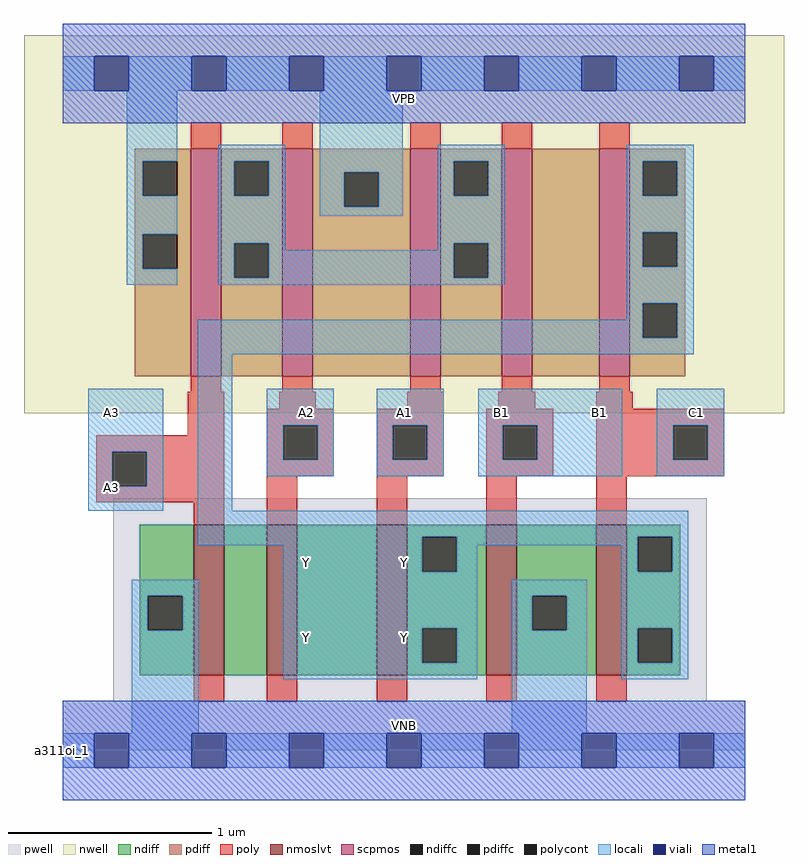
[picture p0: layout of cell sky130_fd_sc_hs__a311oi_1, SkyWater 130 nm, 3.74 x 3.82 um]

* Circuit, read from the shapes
.subckt sky130_fd_sc_hs__a311oi_1 A1 A2 A3 B1 C1 VGND VNB VPB VPWR Y
XM1 n1 A3 VGND VNB sky130_fd_pr__nfet_01v8_lvt w=0.74 l=0.15
XM2 n2 A2 n1 VNB sky130_fd_pr__nfet_01v8_lvt w=0.74 l=0.15
XM3 Y A1 n2 VNB sky130_fd_pr__nfet_01v8_lvt w=0.74 l=0.15
XM4 VGND B1 Y VNB sky130_fd_pr__nfet_01v8_lvt w=0.74 l=0.15
XM5 Y C1 VGND VNB sky130_fd_pr__nfet_01v8_lvt w=0.74 l=0.15
XM6 n3 A3 VPWR VPB sky130_fd_pr__pfet_01v8 w=1.12 l=0.15
XM7 VPWR A2 n3 VPB sky130_fd_pr__pfet_01v8 w=1.12 l=0.15
XM8 n3 A1 VPWR VPB sky130_fd_pr__pfet_01v8 w=1.12 l=0.15
XM9 n4 B1 n3 VPB sky130_fd_pr__pfet_01v8 w=1.12 l=0.15
XM10 Y C1 n4 VPB sky130_fd_pr__pfet_01v8 w=1.12 l=0.15
.ends

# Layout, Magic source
magic
tech sky130A
magscale 1 2
<< nwell >>
rect -38 332 710 704
<< pwell >>
rect 50 49 634 248
rect 0 0 672 49
<< scpmos >>
rect 126 368 156 592
rect 216 368 246 592
rect 342 368 372 592
rect 432 368 462 592
rect 528 368 558 592
<< nmoslvt >>
rect 129 74 159 222
rect 201 74 231 222
rect 309 74 339 222
rect 417 74 447 222
rect 525 74 555 222
<< ndiff >>
rect 76 152 129 222
rect 76 118 84 152
rect 118 118 129 152
rect 76 74 129 118
rect 159 74 201 222
rect 231 74 309 222
rect 339 210 417 222
rect 339 176 354 210
rect 388 176 417 210
rect 339 120 417 176
rect 339 86 354 120
rect 388 86 417 120
rect 339 74 417 86
rect 447 152 525 222
rect 447 118 462 152
rect 496 118 525 152
rect 447 74 525 118
rect 555 210 608 222
rect 555 176 566 210
rect 600 176 608 210
rect 555 120 608 176
rect 555 86 566 120
rect 600 86 608 120
rect 555 74 608 86
<< pdiff >>
rect 71 580 126 592
rect 71 546 79 580
rect 113 546 126 580
rect 71 508 126 546
rect 71 474 79 508
rect 113 474 126 508
rect 71 368 126 474
rect 156 580 216 592
rect 156 546 169 580
rect 203 546 216 580
rect 156 499 216 546
rect 156 465 169 499
rect 203 465 216 499
rect 156 368 216 465
rect 246 569 342 592
rect 246 535 277 569
rect 311 535 342 569
rect 246 368 342 535
rect 372 580 432 592
rect 372 546 385 580
rect 419 546 432 580
rect 372 499 432 546
rect 372 465 385 499
rect 419 465 432 499
rect 372 368 432 465
rect 462 368 528 592
rect 558 580 613 592
rect 558 546 571 580
rect 605 546 613 580
rect 558 510 613 546
rect 558 476 571 510
rect 605 476 613 510
rect 558 440 613 476
rect 558 406 571 440
rect 605 406 613 440
rect 558 368 613 406
<< ndiffc >>
rect 84 118 118 152
rect 354 176 388 210
rect 354 86 388 120
rect 462 118 496 152
rect 566 176 600 210
rect 566 86 600 120
<< pdiffc >>
rect 79 546 113 580
rect 79 474 113 508
rect 169 546 203 580
rect 169 465 203 499
rect 277 535 311 569
rect 385 546 419 580
rect 385 465 419 499
rect 571 546 605 580
rect 571 476 605 510
rect 571 406 605 440
<< poly >>
rect 126 592 156 618
rect 216 592 246 618
rect 342 592 372 618
rect 432 592 462 618
rect 528 592 558 618
rect 126 353 156 368
rect 216 353 246 368
rect 342 353 372 368
rect 432 353 462 368
rect 528 353 558 368
rect 123 310 159 353
rect 213 336 249 353
rect 339 336 375 353
rect 429 336 465 353
rect 525 336 561 353
rect 33 294 159 310
rect 33 260 49 294
rect 83 260 159 294
rect 33 244 159 260
rect 129 222 159 244
rect 201 320 267 336
rect 201 286 217 320
rect 251 286 267 320
rect 201 270 267 286
rect 309 320 375 336
rect 309 286 325 320
rect 359 286 375 320
rect 309 270 375 286
rect 417 320 483 336
rect 417 286 433 320
rect 467 286 483 320
rect 417 270 483 286
rect 525 320 651 336
rect 525 286 601 320
rect 635 286 651 320
rect 525 270 651 286
rect 201 222 231 270
rect 309 222 339 270
rect 417 222 447 270
rect 525 222 555 270
rect 129 48 159 74
rect 201 48 231 74
rect 309 48 339 74
rect 417 48 447 74
rect 525 48 555 74
<< polycont >>
rect 49 260 83 294
rect 217 286 251 320
rect 325 286 359 320
rect 433 286 467 320
rect 601 286 635 320
<< locali >>
rect 0 649 31 683
rect 65 649 127 683
rect 161 649 223 683
rect 257 649 319 683
rect 353 649 415 683
rect 449 649 511 683
rect 545 649 607 683
rect 641 649 672 683
rect 63 580 113 649
rect 63 546 79 580
rect 63 508 113 546
rect 63 474 79 508
rect 63 458 113 474
rect 153 580 219 596
rect 153 546 169 580
rect 203 546 219 580
rect 153 499 219 546
rect 253 569 335 649
rect 253 535 277 569
rect 311 535 335 569
rect 253 526 335 535
rect 369 580 435 596
rect 369 546 385 580
rect 419 546 435 580
rect 153 465 169 499
rect 203 492 219 499
rect 369 499 435 546
rect 369 492 385 499
rect 203 465 385 492
rect 419 465 435 499
rect 153 458 435 465
rect 555 580 621 596
rect 555 546 571 580
rect 605 546 621 580
rect 555 510 621 546
rect 555 476 571 510
rect 605 476 621 510
rect 555 440 621 476
rect 555 424 571 440
rect 133 406 571 424
rect 605 406 621 440
rect 133 390 621 406
rect 25 294 99 356
rect 25 260 49 294
rect 83 260 99 294
rect 25 236 99 260
rect 133 236 167 390
rect 201 320 267 356
rect 201 286 217 320
rect 251 286 267 320
rect 201 270 267 286
rect 309 320 375 356
rect 309 286 325 320
rect 359 286 375 320
rect 309 270 375 286
rect 409 320 551 356
rect 409 286 433 320
rect 467 286 551 320
rect 409 270 551 286
rect 585 320 651 356
rect 585 286 601 320
rect 635 286 651 320
rect 585 270 651 286
rect 133 210 616 236
rect 133 202 354 210
rect 217 176 354 202
rect 388 202 566 210
rect 388 176 408 202
rect 68 152 134 168
rect 68 118 84 152
rect 118 118 134 152
rect 68 17 134 118
rect 217 120 408 176
rect 550 176 566 202
rect 600 176 616 210
rect 217 86 354 120
rect 388 86 408 120
rect 217 70 408 86
rect 442 152 516 168
rect 442 118 462 152
rect 496 118 516 152
rect 442 17 516 118
rect 550 120 616 176
rect 550 86 566 120
rect 600 86 616 120
rect 550 70 616 86
rect 0 -17 31 17
rect 65 -17 127 17
rect 161 -17 223 17
rect 257 -17 319 17
rect 353 -17 415 17
rect 449 -17 511 17
rect 545 -17 607 17
rect 641 -17 672 17
<< viali >>
rect 31 649 65 683
rect 127 649 161 683
rect 223 649 257 683
rect 319 649 353 683
rect 415 649 449 683
rect 511 649 545 683
rect 607 649 641 683
rect 31 -17 65 17
rect 127 -17 161 17
rect 223 -17 257 17
rect 319 -17 353 17
rect 415 -17 449 17
rect 511 -17 545 17
rect 607 -17 641 17
<< metal1 >>
rect 0 683 672 715
rect 0 649 31 683
rect 65 649 127 683
rect 161 649 223 683
rect 257 649 319 683
rect 353 649 415 683
rect 449 649 511 683
rect 545 649 607 683
rect 641 649 672 683
rect 0 617 672 649
rect 0 17 672 49
rect 0 -17 31 17
rect 65 -17 127 17
rect 161 -17 223 17
rect 257 -17 319 17
rect 353 -17 415 17
rect 449 -17 511 17
rect 545 -17 607 17
rect 641 -17 672 17
rect 0 -49 672 -17
<< labels >>
rlabel comment s 0 0 0 0 4 a311oi_1
flabel pwell s 0 0 672 49 0 FreeSans 200 0 0 0 VNB
port 7 nsew ground bidirectional
flabel nwell s 0 617 672 666 0 FreeSans 200 0 0 0 VPB
port 8 nsew power bidirectional
flabel metal1 s 0 617 672 666 0 FreeSans 340 0 0 0 VPWR
port 9 nsew power bidirectional
flabel metal1 s 0 0 672 49 0 FreeSans 340 0 0 0 VGND
port 6 nsew ground bidirectional
flabel locali s 607 316 641 350 0 FreeSans 340 0 0 0 C1
port 5 nsew signal input
flabel locali s 415 316 449 350 0 FreeSans 340 0 0 0 B1
port 4 nsew signal input
flabel locali s 511 316 545 350 0 FreeSans 340 0 0 0 B1
port 4 nsew signal input
flabel locali s 31 242 65 276 0 FreeSans 340 0 0 0 A3
port 3 nsew signal input
flabel locali s 31 316 65 350 0 FreeSans 340 0 0 0 A3
port 3 nsew signal input
flabel locali s 223 316 257 350 0 FreeSans 340 0 0 0 A2
port 2 nsew signal input
flabel locali s 319 316 353 350 0 FreeSans 340 0 0 0 A1
port 1 nsew signal input
flabel locali s 223 94 257 128 0 FreeSans 340 0 0 0 Y
port 10 nsew signal output
flabel locali s 223 168 257 202 0 FreeSans 340 0 0 0 Y
port 10 nsew signal output
flabel locali s 319 94 353 128 0 FreeSans 340 0 0 0 Y
port 10 nsew signal output
flabel locali s 319 168 353 202 0 FreeSans 340 0 0 0 Y
port 10 nsew signal output
<< properties >>
string LEFsite unit
string LEFclass CORE
string FIXED_BBOX 0 0 672 666
string GDS_FILE $PDKPATH/libs.ref/sky130_fd_sc_hs/gds/sky130_fd_sc_hs.gds
string LEFsymmetry X Y
string GDS_END 2111868
string GDS_START 2105380
<< end >>
